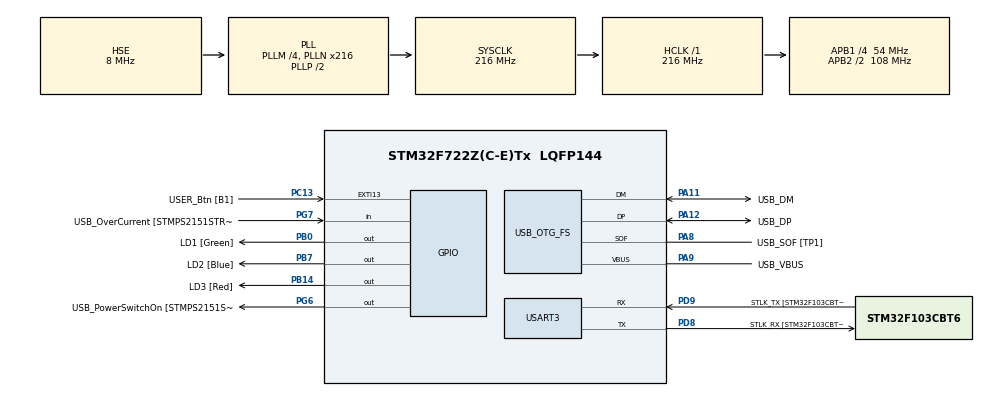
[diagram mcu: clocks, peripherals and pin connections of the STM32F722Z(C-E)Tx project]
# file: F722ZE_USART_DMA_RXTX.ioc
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Dma.Request0=USART3_RX
Dma.Request1=USART3_TX
Dma.USART3_RX.0.Direction=DMA_PERIPH_TO_MEMORY
Dma.USART3_RX.0.FIFOMode=DMA_FIFOMODE_DISABLE
Dma.USART3_RX.0.Instance=DMA1_Stream1
Dma.USART3_RX.0.MemDataAlignment=DMA_MDATAALIGN_BYTE
Dma.USART3_RX.0.MemInc=DMA_MINC_ENABLE
Dma.USART3_RX.0.Mode=DMA_CIRCULAR
Dma.USART3_RX.0.PeriphDataAlignment=DMA_PDATAALIGN_BYTE
Dma.USART3_RX.0.PeriphInc=DMA_PINC_DISABLE
Dma.USART3_RX.0.Priority=DMA_PRIORITY_LOW
Dma.USART3_TX.1.Direction=DMA_MEMORY_TO_PERIPH
Dma.USART3_TX.1.FIFOMode=DMA_FIFOMODE_DISABLE
Dma.USART3_TX.1.Instance=DMA1_Stream3
Dma.USART3_TX.1.MemDataAlignment=DMA_MDATAALIGN_BYTE
Dma.USART3_TX.1.MemInc=DMA_MINC_ENABLE
Dma.USART3_TX.1.Mode=DMA_NORMAL
Dma.USART3_TX.1.PeriphDataAlignment=DMA_PDATAALIGN_BYTE
Dma.USART3_TX.1.PeriphInc=DMA_PINC_DISABLE
Dma.USART3_TX.1.Priority=DMA_PRIORITY_LOW
Mcu.Family=STM32F7
Mcu.Name=STM32F722Z(C-E)Tx
Mcu.Package=LQFP144
NVIC.DMA1_Stream1_IRQn=true\:0\:0\:false\:false\:true\:false\:true
NVIC.DMA1_Stream3_IRQn=true\:0\:0\:false\:false\:true\:false\:true
NVIC.PriorityGroup=NVIC_PRIORITYGROUP_4
NVIC.USART3_IRQn=true\:0\:0\:false\:false\:true\:true\:true
PA10.GPIO_Label=USB_ID
PA10.Signal=USB_OTG_FS_ID
PA11.GPIO_Label=USB_DM
PA11.Mode=Device_Only
PA11.Signal=USB_OTG_FS_DM
PA12.GPIO_Label=USB_DP
PA12.Mode=Device_Only
PA12.Signal=USB_OTG_FS_DP
PA13.GPIO_Label=TMS
PA13.Mode=Serial_Wire
PA13.Signal=SYS_JTMS-SWDIO
PA14.GPIO_Label=TCK
PA14.Mode=Serial_Wire
PA14.Signal=SYS_JTCK-SWCLK
PA8.GPIO_Label=USB_SOF [TP1]
PA8.Mode=Activate_SOF_FS
PA8.Signal=USB_OTG_FS_SOF
PA9.GPIO_Label=USB_VBUS
PA9.Mode=Activate_VBUS
PA9.Signal=USB_OTG_FS_VBUS
PB0.GPIO_Label=LD1 [Green]
PB0.Signal=GPIO_Output
PB14.GPIO_Label=LD3 [Red]
PB14.Signal=GPIO_Output
PB3.GPIO_Label=SWO
PB3.Signal=SYS_JTDO-SWO
PB7.GPIO_Label=LD2 [Blue]
PB7.Signal=GPIO_Output
PC13.GPIO_Label=USER_Btn [B1]
PC13.Signal=GPXTI13
PC14-OSC32_IN.Mode=LSE-External-Oscillator
PC14-OSC32_IN.Signal=RCC_OSC32_IN
PC15-OSC32_OUT.Mode=LSE-External-Oscillator
PC15-OSC32_OUT.Signal=RCC_OSC32_OUT
PD8.GPIO_Label=STLK_RX [STM32F103CBT6_PA3]
PD8.Mode=Asynchronous
PD8.Signal=USART3_TX
PD9.GPIO_Label=STLK_TX [STM32F103CBT6_PA2]
PD9.Mode=Asynchronous
PD9.Signal=USART3_RX
PG6.GPIO_Label=USB_PowerSwitchOn [STMPS2151STR_EN]
PG6.Signal=GPIO_Output
PG7.GPIO_Label=USB_OverCurrent [STMPS2151STR_FAULT]
PG7.Signal=GPIO_Input
PH0-OSC_IN.GPIO_Label=MCO
PH0-OSC_IN.Mode=HSE-External-Clock-Source
PH0-OSC_IN.Signal=RCC_OSC_IN
PH1-OSC_OUT.Mode=HSE-External-Clock-Source
PH1-OSC_OUT.Signal=RCC_OSC_OUT
ProjectManager.HeapSize=0x200
ProjectManager.StackSize=0x400
ProjectManager.TargetToolchain=STM32CubeIDE
RCC.48MHZClocksFreq_Value=24000000
RCC.AHBFreq_Value=216000000
RCC.APB1CLKDivider=RCC_HCLK_DIV4
RCC.APB1Freq_Value=54000000
RCC.APB1TimFreq_Value=108000000
RCC.APB2CLKDivider=RCC_HCLK_DIV2
RCC.APB2Freq_Value=108000000
RCC.APB2TimFreq_Value=216000000
RCC.CortexFreq_Value=216000000
RCC.HCLKFreq_Value=216000000
RCC.HSE_VALUE=8000000
RCC.HSI_VALUE=16000000
RCC.PLLM=4
RCC.PLLMUL=RCC_PLL_MUL9
RCC.PLLN=216
RCC.PLLQ=9
RCC.PRESCALERUSB=RCC_USBCLKSOURCE_PLL_DIV1_5
RCC.SYSCLKFreq_VALUE=216000000
RCC.SYSCLKSource=RCC_SYSCLKSOURCE_PLLCLK
RCC.SYSCLKSourceVirtual=RCC_SYSCLKSOURCE_PLLCLK
RCC.USBFreq_Value=48000000
RCC.VCOOutputFreq_Value=432000000
USART3.VirtualMode-Asynchronous=VM_ASYNC
USB_OTG_FS.VirtualMode=Device_Only
board=NUCLEO-F722ZE

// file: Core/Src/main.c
/* USER CODE BEGIN Header */
/**
  ******************************************************************************
  * @file           : main.c
  * @brief          : Main program body
  ******************************************************************************
  * @attention
  *
  * <h2><center>&copy; Copyright (c) 2021 STMicroelectronics.
  * All rights reserved.</center></h2>
  *
  * This software component is licensed by ST under BSD 3-Clause license,
  * the "License"; You may not use this file except in compliance with the
  * License. You may obtain a copy of the License at:
  *                        opensource.org/licenses/BSD-3-Clause
  *
  ******************************************************************************
  */
/* USER CODE END Header */
#include "main.h"
#include "dma.h"
#include "usart.h"
#include "usb_otg.h"
#include "gpio.h"

/* USER CODE BEGIN Includes */
#include "fw_app.h"
/* USER CODE END Includes */

/* USER CODE BEGIN PV */
static uint32_t _rx_count;
static uint8_t  _rx_data;
/* USER CODE END PV */

void SystemClock_Config(void);

int main(void)
{
  /* USER CODE BEGIN 1 */
  fw_app_init();
  /* USER CODE END 1 */

  /* MCU Configuration--------------------------------------------------------*/

  /* Reset of all peripherals, Initializes the Flash interface and the Systick. */
  HAL_Init();

  /* Configure the system clock */
  SystemClock_Config();

  /* Initialize all configured peripherals */
  MX_GPIO_Init();
  MX_DMA_Init();
  MX_USART3_UART_Init();
  MX_USB_OTG_FS_PCD_Init();
  /* USER CODE BEGIN 2 */
  // Call this function after "Initialize all configured peripherals" blocks.
  fw_app_hw_init();
  /* USER CODE END 2 */

  /* Infinite loop */
  /* USER CODE BEGIN WHILE */
  while (1)
  {
    _rx_count = fl_dma_q_count(&g_app.q1);
    if (_rx_count > 0)
    {
      fl_bool_t tx_ready = FL_FALSE;

      for (uint32_t i = 0; i < _rx_count; i++)
      {
        fl_dma_q_pop(&g_app.q1, &_rx_data);
        if (g_app.tx_len1 < FW_APP_TX_BUF_SIZE)
        {
          g_app.tx_buf1[g_app.tx_len1++] = _rx_data;

          if (g_app.tx_len1 == FW_APP_TX_BUF_SIZE)
          {
            fw_app_dma_transmit();
          }
        }
      }

      if (g_app.tx_len1 > 0)
      {
        fw_app_dma_transmit();
      }
    }
    /* USER CODE END WHILE */

  }
}

void SystemClock_Config(void)
{
  RCC_OscInitTypeDef RCC_OscInitStruct = {0};
  RCC_ClkInitTypeDef RCC_ClkInitStruct = {0};
  RCC_PeriphCLKInitTypeDef PeriphClkInitStruct = {0};

  /** Configure LSE Drive Capability
  */
  HAL_PWR_EnableBkUpAccess();
  /** Configure the main internal regulator output voltage
  */
  __HAL_RCC_PWR_CLK_ENABLE();
  __HAL_PWR_VOLTAGESCALING_CONFIG(PWR_REGULATOR_VOLTAGE_SCALE1);
  /** Initializes the RCC Oscillators according to the specified parameters
  * in the RCC_OscInitTypeDef structure.
  */
  RCC_OscInitStruct.OscillatorType = RCC_OSCILLATORTYPE_HSE;
  RCC_OscInitStruct.HSEState = RCC_HSE_BYPASS;
  RCC_OscInitStruct.PLL.PLLState = RCC_PLL_ON;
  RCC_OscInitStruct.PLL.PLLSource = RCC_PLLSOURCE_HSE;
  RCC_OscInitStruct.PLL.PLLM = 4;
  RCC_OscInitStruct.PLL.PLLN = 216;
  RCC_OscInitStruct.PLL.PLLP = RCC_PLLP_DIV2;
  RCC_OscInitStruct.PLL.PLLQ = 9;
  if (HAL_RCC_OscConfig(&RCC_OscInitStruct) != HAL_OK)
  {
    Error_Handler();
  }
  /** Activate the Over-Drive mode
  */
  if (HAL_PWREx_EnableOverDrive() != HAL_OK)
  {
    Error_Handler();
  }
  /** Initializes the CPU, AHB and APB buses clocks
  */
  RCC_ClkInitStruct.ClockType = RCC_CLOCKTYPE_HCLK|RCC_CLOCKTYPE_SYSCLK
                              |RCC_CLOCKTYPE_PCLK1|RCC_CLOCKTYPE_PCLK2;
  RCC_ClkInitStruct.SYSCLKSource = RCC_SYSCLKSOURCE_PLLCLK;
  RCC_ClkInitStruct.AHBCLKDivider = RCC_SYSCLK_DIV1;
  RCC_ClkInitStruct.APB1CLKDivider = RCC_HCLK_DIV4;
  RCC_ClkInitStruct.APB2CLKDivider = RCC_HCLK_DIV2;

  if (HAL_RCC_ClockConfig(&RCC_ClkInitStruct, FLASH_LATENCY_7) != HAL_OK)
  {
    Error_Handler();
  }
  PeriphClkInitStruct.PeriphClockSelection = RCC_PERIPHCLK_USART3|RCC_PERIPHCLK_CLK48;
  PeriphClkInitStruct.Usart3ClockSelection = RCC_USART3CLKSOURCE_PCLK1;
  PeriphClkInitStruct.Clk48ClockSelection = RCC_CLK48SOURCE_PLL;
  if (HAL_RCCEx_PeriphCLKConfig(&PeriphClkInitStruct) != HAL_OK)
  {
    Error_Handler();
  }
}

void Error_Handler(void)
{
  __disable_irq();
  while (1)
  {
  }
}

/************************ (C) COPYRIGHT STMicroelectronics *****END OF FILE****/
